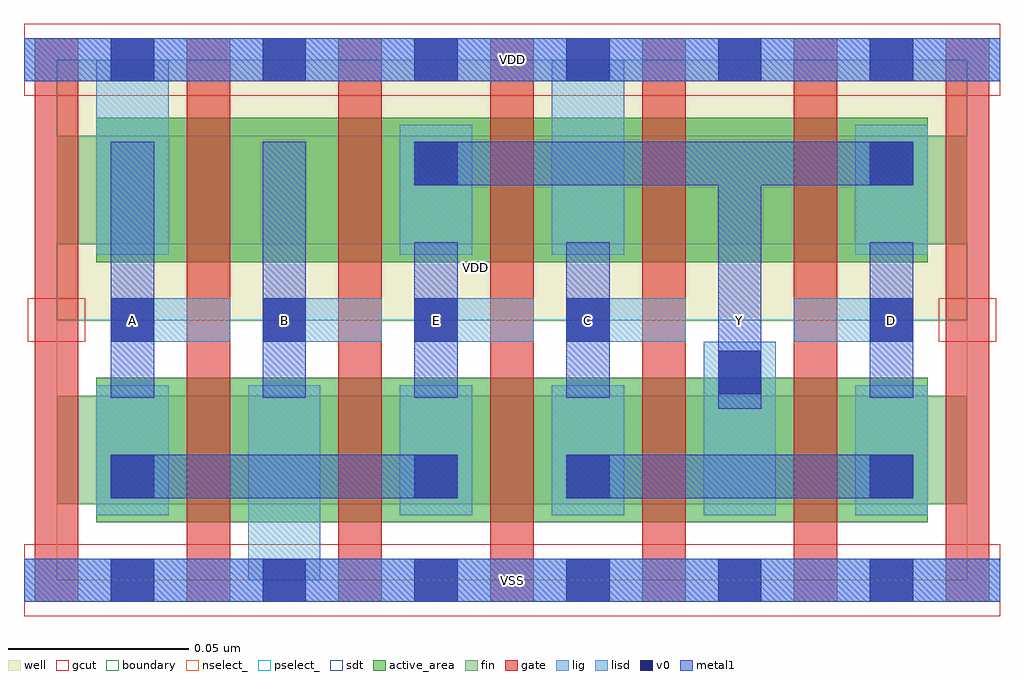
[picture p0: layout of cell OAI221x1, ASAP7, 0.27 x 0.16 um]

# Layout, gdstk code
import gdstk
lib = gdstk.Library(unit=1e-6, precision=2.5e-10)
def R(c, l, rs):  # rectangles x0, y0, x1, y1
    for r in rs: c.add(gdstk.rectangle(r[:2], r[2:], *l))
def A(c, l, x, y, w, h, nx, ny, dx, dy):  # array of equal rectangles
    R(c, l, [(x+i*dx, y+j*dy, x+i*dx+w, y+j*dy+h) for i in range(nx) for j in range(ny)])
def P(c, l, *ps):  # polygons
    for p in ps: c.add(gdstk.Polygon(p, *l))
well = (1, 0)
fin = (2, 0)
gate = (7, 0)
gcut = (10, 0)
active_area = (11, 0)
nselect_ = (12, 0)
pselect_ = (13, 0)
lig = (16, 0)
lisd = (17, 0)
v0 = (18, 0)
metal1 = (19, 0)
sdt = (88, 0)
boundary = (100, 0)

oai221x1 = lib.new_cell('OAI221x1')
R(oai221x1, well, [(0,0.072,0.252,0.144)])
R(oai221x1, fin, [(0,0.021,0.252,0.051), (0,0.093,0.252,0.123)])
A(oai221x1, gate, -0.006, -0.006, 0.012, 0.156, 7, 1, 0.042, 0)
R(oai221x1, gcut, [(-0.009,-0.01,0.261,0.01), (-0.008,0.066,0.008,0.078), (0.244,0.066,0.26,0.078), (-0.009,0.134,0.261,0.154)])
R(oai221x1, active_area, [(0.011,0.016,0.241,0.056), (0.011,0.088,0.241,0.128)])
R(oai221x1, nselect_, [(0,0,0.252,0.072)])
R(oai221x1, pselect_, [(0,0.072,0.252,0.144)])
A(oai221x1, lig, 0.015, 0.066, 0.033, 0.012, 4, 1, 0.042, 0)
R(oai221x1, lig, [(-0.009,-0.006,0.261,0.006), (0.204,0.066,0.237,0.078), (-0.009,0.138,0.261,0.15)])
R(oai221x1, lisd, [(0.053,0,0.073,0.054), (0.011,0.018,0.031,0.054), (0.095,0.018,0.115,0.054), (0.137,0.018,0.157,0.054), (0.179,0.018,0.199,0.066), (0.221,0.018,0.241,0.054), (0.011,0.09,0.031,0.144), (0.095,0.09,0.115,0.126), (0.137,0.09,0.157,0.144), (0.221,0.09,0.241,0.126)])
A(oai221x1, v0, 0.015, -0.006, 0.012, 0.012, 6, 2, 0.042, 0.144)
A(oai221x1, v0, 0.225, 0.0227, 0.012, 0.012, 1, 3, 0, 0.0433)
A(oai221x1, v0, 0.015, 0.066, 0.012, 0.012, 4, 1, 0.042, 0)
R(oai221x1, v0, [(0.015,0.0227,0.027,0.0348), (0.099,0.0227,0.111,0.0348), (0.141,0.0227,0.153,0.0348), (0.183,0.0515,0.195,0.0635), (0.099,0.1092,0.111,0.1212)])
R(oai221x1, metal1, [(-0.009,-0.006,0.261,0.006), (0.015,0.0227,0.111,0.0348), (0.141,0.0227,0.237,0.0348), (0.015,0.0505,0.027,0.1212), (0.057,0.0505,0.069,0.1212), (0.099,0.0505,0.111,0.0935), (0.141,0.0505,0.153,0.0935), (0.225,0.0505,0.237,0.0935), (-0.009,0.138,0.261,0.15)])
P(oai221x1, metal1, [(0.237,0.1092),(0.237,0.1212),(0.099,0.1212),(0.099,0.1092),(0.183,0.1092),(0.183,0.0475),(0.195,0.0475),(0.195,0.1092)])
A(oai221x1, sdt, 0.011, 0.021, 0.02, 0.03, 6, 1, 0.042, 0)
R(oai221x1, sdt, [(0.011,0.093,0.031,0.123), (0.095,0.093,0.115,0.123), (0.137,0.093,0.157,0.123), (0.221,0.093,0.241,0.123)])
R(oai221x1, boundary, [(0,0,0.252,0.144)])
oai221x1.add(gdstk.Label('VDD', (0.116,0.0865), layer=1, texttype=251))
oai221x1.add(gdstk.Label('VSS', (0.268,0.0505), layer=3, texttype=251))
oai221x1.add(gdstk.Label('D', (0.231,0.072), layer=19, texttype=251))
oai221x1.add(gdstk.Label('C', (0.147,0.072), layer=19, texttype=251))
oai221x1.add(gdstk.Label('E', (0.105,0.072), layer=19, texttype=251))
oai221x1.add(gdstk.Label('Y', (0.189,0.072), layer=19, texttype=251))
oai221x1.add(gdstk.Label('A', (0.021,0.072), layer=19, texttype=251))
oai221x1.add(gdstk.Label('VSS', (0.126,0), layer=19, texttype=251))
oai221x1.add(gdstk.Label('VDD', (0.126,0.144), layer=19, texttype=251))
oai221x1.add(gdstk.Label('B', (0.063,0.072), layer=19, texttype=251))

lib.write_gds('OAI221x1.gds')
